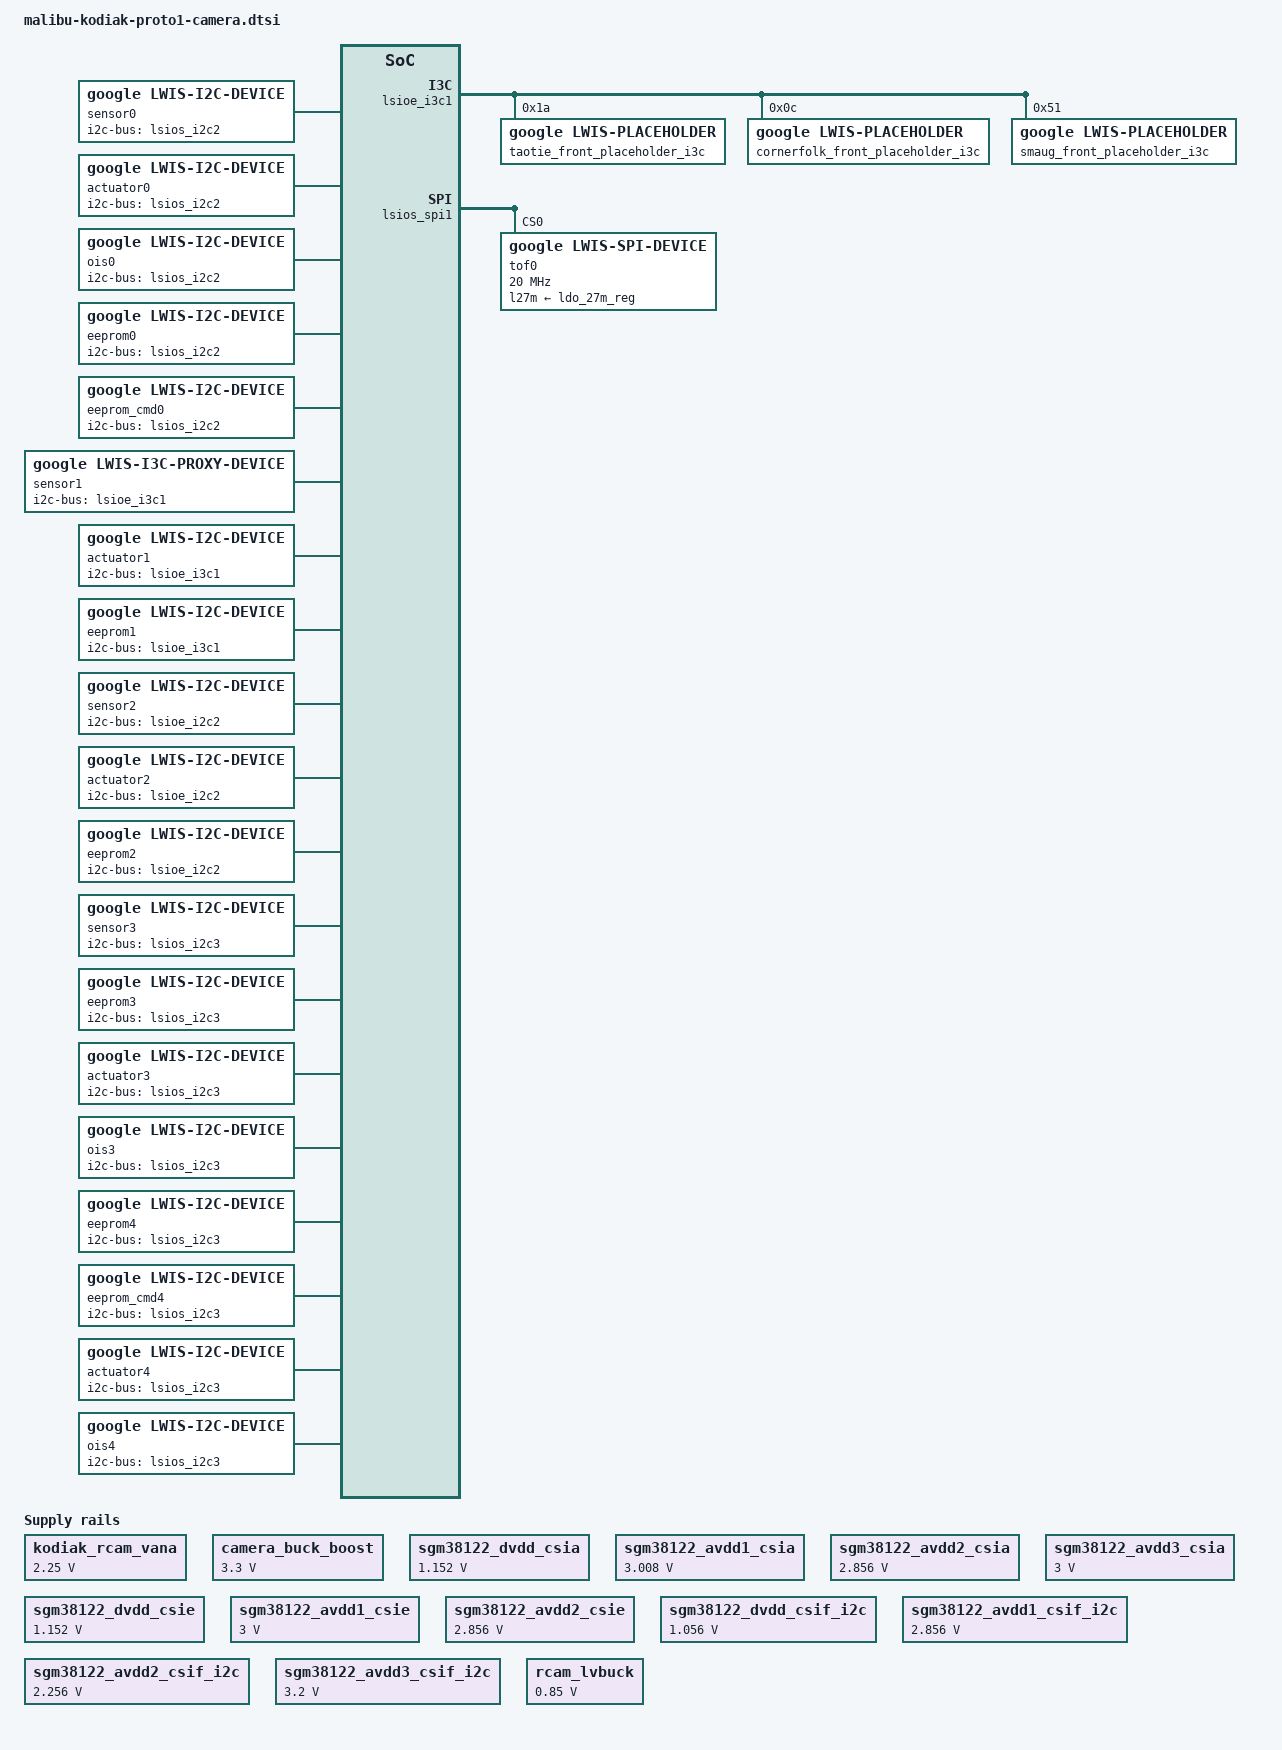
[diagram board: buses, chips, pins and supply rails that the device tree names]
// SPDX-License-Identifier: GPL-2.0-only
/*
 * camera lwis device tree for MBU device
 *
 * Copyright 2025 Google LLC.
 *
 */

#include <dt-bindings/gpio/gpio.h>
#include <dt-bindings/interrupt-controller/irq.h>
#include <dt-bindings/lwis/platform/malibu/tof.h>

&camera_buck_boost {
	regulator-min-microvolt = <3300000>;
	regulator-max-microvolt = <3300000>;
};

&sgm38122_csia {
	google,enable-pin-can-restart;
};
&sgm38122_csie {
	google,enable-pin-can-restart;
};
&sgm38122_csif {
	google,enable-pin-can-restart;
};
&sgm38122_csif_i2c {
	google,enable-pin-can-restart;
};

/* FCAM: switch I2C/I3C explicitly */
&xlsioe_i23c6_scl {
	function = "lsioe_i3c";
};
&xlsioe_i23c6_sda {
	function = "lsioe_i3c";
};
&lsioe_i2c1 {
	status = "disabled";
};
&lsioe_i3c1 {
	#address-cells = <1>;
	#size-cells = <0>;
	status = "okay";

	i3c-scl-hz = <6000000>;
	i2c-sda-falling-time-ns = <160>;
	i2c-scl-falling-time-ns = <120>;


	/* Lwis placeholder for FCAM */
	taotie_front_placeholder_i3c: taotie_front_placeholder_i3c@0 {
		compatible = "google,lwis-placeholder";
		/* I2C */
		reg = <0x1A 0x0 0x20>;
	};
	cornerfolk_front_placeholder_i3c: cornerfolk_front_placeholder_i3c@0 {
		compatible = "google,lwis-placeholder";
		/* I2C */
		reg = <0xC 0x0 0x20>;
	};
	smaug_front_placeholder_i3c: smaug_front_placeholder_i3c@0 {
		compatible = "google,lwis-placeholder";
		/* I2C */
		reg = <0x51 0x0 0x20>;
	};
};

&xlsioe_i23c7_scl {
	function = "lsioe_i2c";
};

&xlsioe_i23c7_sda {
	function = "lsioe_i2c";
};

&xlsios_i23c2_scl {
	function = "lsios_i2c2";
};

&xlsios_i23c2_sda {
	function = "lsios_i2c2";
};

&xlsios_i23c3_scl {
	function = "lsios_i2c3";
};

&xlsios_i23c3_sda {
	function = "lsios_i2c3";
};

&sgm38122_dvdd_csia {
	regulator-min-microvolt = <1152000>;
	regulator-max-microvolt = <1152000>;
};

&sgm38122_avdd1_csia {
	regulator-min-microvolt = <3008000>;
	regulator-max-microvolt = <3008000>;
};

&sgm38122_avdd2_csia {
	regulator-min-microvolt = <2856000>;
	regulator-max-microvolt = <2856000>;
};

&sgm38122_avdd3_csia {
	regulator-min-microvolt = <3000000>;
	regulator-max-microvolt = <3000000>;
};

&sgm38122_dvdd_csie {
	regulator-min-microvolt = <1152000>;
	regulator-max-microvolt = <1152000>;
};

&sgm38122_avdd1_csie {
	regulator-min-microvolt = <3000000>;
	regulator-max-microvolt = <3000000>;
};

&sgm38122_avdd2_csie {
	regulator-min-microvolt = <2856000>;
	regulator-max-microvolt = <2856000>;
};

&sgm38122_dvdd_csif_i2c {
	regulator-min-microvolt = <1056000>;
	regulator-max-microvolt = <1056000>;
};

&sgm38122_avdd1_csif_i2c {
	regulator-min-microvolt = <2856000>;
	regulator-max-microvolt = <2856000>;
};

&sgm38122_avdd2_csif_i2c {
	regulator-min-microvolt = <2256000>;
	regulator-max-microvolt = <2256000>;
};

&sgm38122_avdd3_csif_i2c {
	regulator-min-microvolt = <3200000>;
	regulator-max-microvolt = <3200000>;
};

&rcam_lvbuck {
	regulator-min-microvolt = <850000>;
	regulator-max-microvolt = <850000>;
};

&lsios_spi1 {
	#address-cells = <1>;
	#size-cells = <0>;
	google,spi-gpio-cs-with-cpol-high;
	tof0: tof@0 {
		compatible = "google,lwis-spi-device";

		/* SPI_CONFIG */
		reg = <0>;
		spi-max-frequency = <20000000>;
		spi-cpol;
		spi-cpha;

		/* Device node name */
		node-name = "tof-tarasque";

		/* Registers */
		reg-addr-bitwidth = <16>;
		reg-value-bitwidth = <8>;

		/* MCLK Control */
		/* LWIS DT parser explicitly requires mclk_on pinctrl */
		pinctrl-names = "default", "mclk_on", "mclk_off";
		pinctrl-0 = <&ldaf2aoss_irq_od_l_1v2>;
		pinctrl-1 = <&ldaf2aoss_irq_od_l_1v2>;
		pinctrl-2 = <>;

		irq-gpios = <LDAF2AOSS_IRQ_OD_L_1V2(GPIO_ACTIVE_LOW)>;
		irq-gpios-names = "tof-irq";
		irq-gpios-events = <LWIS_PLATFORM_EVENT_ID_TOF_DATA_POLLING>;
		irq-gpios-types = <IRQ_TYPE_EDGE_FALLING>;

		/* Power supplies */
		/* VADD 3.3V */
		l27m-supply = <&ldo_27m_reg>;

		/* Power up sequence */
		power-up-seqs =
			"l27m",
			"mclk_on";
		power-up-seq-types =
			"regulator",
			"pinctrl";
		power-up-seq-delays-us =
			<0
			 0>;

		/* Power down sequence */
		power-down-seqs =
			"mclk_off",
			"l27m";
		power-down-seq-types =
			"pinctrl",
			"regulator";
		power-down-seq-delays-us =
			<0
			 0>;

		/* Thread priority */
		/* This is made to be lower than image sensor's thread */
		/* thread priority to allow uninterrupted image sensor */
		/* operation during periods of high CPU contention. */
		transaction-thread-priority = <100>;
	};
};

/ {
	fragment@kodiak_rcam_supply {
		target-path = "/";
		__overlay__ {
			kodiak_rcam_vana: kodiak_rcam_supply@0 {
				compatible = "regulator-fixed";
				status = "okay";
				regulator-name = "RCAM_VANA";
				regulator-min-microvolt = <2250000>;
				regulator-max-microvolt = <2250000>;
				/* 0ms */
				regulator-enable-ramp-delay = <0>;
				enable-active-high;
				/* VANA_EN */
				gpio = <PMICM2RCAM_VANA_EN(GPIO_ACTIVE_HIGH)>;
			};
		};
	};
};

/ {
	fragment@lwiscamera {
		target-path = "/";
		__overlay__ {
			camera_base_pwrseq: camera_base_pwrseq@0 {
				compatible = "google,lwis-pwrseq-device";

				/* Device node name */
				node-name = "pwrseq-base";
				/* Power sequence target name */
				target-name = "camera_base";

				/* GPIOs */
				i2c-sel-gpios = <AP2CAM_I2C_SEL(GPIO_ACTIVE_LOW)>;

				/* Power supplies */
				bb_cam-supply = <&camera_buck_boost>;

				/* power up sequence */
				power-up-seqs =
					"i2c-sel",
					"bb_cam",
					"fast-bb_cam";
				power-up-seq-types =
					"gpio",
					"regulator",
					"regulator_mode";
				power-up-seq-delays-us =
					<0
					 0
					 1000>;

				/* power down sequence */
				power-down-seqs =
					"normal-bb_cam",
					"bb_cam",
					"i2c-sel";
				power-down-seq-types =
					"regulator_mode",
					"regulator",
					"gpio";
				power-down-seq-delays-us =
					<0
					 0
					 1000>;
			};

			/* Power sequence for REAR MAIN CAMERA */
			rear_main_camera_pwrseq: rear_main_camera_pwrseq@0 {
				compatible = "google,lwis-pwrseq-device";

				/* Device node name */
				node-name = "pwrseq-rmain";
				/* Power sequence target name */
				target-name = "rear_main_camera";

				/* Sequencer sources */
				sequencer-sources = <&camera_base_pwrseq>;

				/* GPIOs */
				vm_vana_enable-gpios = <PMICM2RCAM_AFOIS_VANA_EN(GPIO_ACTIVE_HIGH)>;

				/* Power supplies */
				mvbuck-supply = <&cam_pp1350_mvbuck>;
				vio-supply = <&ldo_22s_reg>;
				vdig-supply = <&rcam_lvbuck>;
				af_vm-supply = <&sgm38122_avdd3_csia>;
				ois_vm-supply = <&ldo_26m_reg>;
				vana-supply = <&kodiak_rcam_vana>;

				/* MCLK + VSYNC Control*/
				pinctrl-names = "mclk_on", "mclk_off", "vsync_on", "vsync_off";
				pinctrl-0 = <&ap2rcam_mclk_24mhz>;
				pinctrl-1 = <&ap2rcam_mclk_24mhz_sleep>;
				pinctrl-2 = <&rcam2ap_vsync>;
				pinctrl-3 = <&rcam2ap_vsync_sleep>;

				power-up-seqs =
					"camera_base",
					"mvbuck",
					"vio",
					"vana",
					"vdig",
					"vm_vana_enable",
					"af_vm",
					"ois_vm",
					"mclk_on",
					"vsync_on";
				power-up-seq-types =
					"pwrseq",
					"regulator",
					"regulator",
					"regulator",
					"regulator",
					"gpio",
					"regulator",
					"regulator",
					"pinctrl",
					"pinctrl";
				power-up-seq-delays-us =
					<0
					 0
					 1500
					 0
					 1000
					 1000
					 0
					 0
					 0
					 /* AF need 7.1ms (rounded to 8ms) before I2C stable,
					    added the remaining here */
					 8000>;

				power-down-seqs =
					"vsync_off",
					"mclk_off",
					"ois_vm",
					"af_vm",
					"vm_vana_enable",
					"vdig",
					"vana",
					"vio",
					"mvbuck",
					"camera_base";

				power-down-seq-types =
					"pinctrl",
					"pinctrl",
					"regulator",
					"regulator",
					"gpio",
					"regulator",
					"regulator",
					"regulator",
					"regulator",
					"pwrseq";
				power-down-seq-delays-us =
					<0
					 1000
					 0
					 1000
					 1000
					 0
					 1000
					 0
					 200
					 0>;
			};

			/* REAR CAMERA BASTET CSIB */
			sensor0: sensor@0 {
				compatible = "google,lwis-i2c-device";

				/* Device node name */
				node-name = "sensor-bastet";

				/* I2C */
				i2c-bus = <&lsios_i2c2>;
				i2c-addr = <0x3D>;

				/* Power up mode */
				lwis,power-up-to-suspend;

				/* Registers */
				reg-addr-bitwidth = <16>;
				reg-value-bitwidth = <16>;

				/* GPIOs */
				reset-gpios = <AP2RCAM_RST_L(GPIO_ACTIVE_HIGH)>;

				/* Power domains: cpm_clk */
				power-domains = <&sswrp_lsio_s_pd>;

				clocks = <&lsio_s_m4_clk>;
				clock-names = "MCLK4";
				clock-rates = <24576000>;

				/* Power sequence */
				power-sequencer = <&rear_main_camera_pwrseq>;

				power-up-seqs = "rear_main_camera", "resume";
				power-up-seq-types = "pwrseq", "controller";
				power-up-seq-delays-us = <0 0>;

				power-down-seqs = "suspend", "rear_main_camera";
				power-down-seq-types = "controller", "pwrseq";
				power-down-seq-delays-us = <0 0>;

				/* resume sequence */
				resume-seqs = "reset";
				resume-seq-types = "gpio";
				/* TODO(b/416615547) Reduce resume sequence */
				/* delay after resolving sensor ID read failures. */
				resume-seq-delays-us = <90000>;

				/* suspend sequence */
				suspend-seqs = "reset";
				suspend-seq-types = "gpio";
				suspend-seq-delays-us = <1000>;

				/* Thread priority */
				transaction-thread-priority = <99>;

				i2c-lock-group-id = <0>;
			};

			/* Actuator CORNERFOLK for BASTET */
			actuator0: actuator@0 {
				compatible = "google,lwis-i2c-device";

				/* Device node name */
				node-name = "act-cornerfolk";

				/* I2C */
				i2c-bus = <&lsios_i2c2>;
				i2c-addr = <0x0C>;

				/* Registers */
				reg-addr-bitwidth = <8>;
				reg-value-bitwidth = <8>;

				/* Power sequence */
				power-sequencer = <&rear_main_camera_pwrseq>;

				power-up-seqs = "rear_main_camera", "resume";
				power-up-seq-types = "pwrseq", "controller";
				power-up-seq-delays-us = <0 0>;

				power-down-seqs = "suspend", "rear_main_camera";
				power-down-seq-types = "controller", "pwrseq";
				power-down-seq-delays-us = <0 0>;

				/* Thread priority */
				transaction-thread-priority = <99>;

				i2c-lock-group-id = <0>;
			};

			/* OIS VESTA for BASTET */
			ois0: ois@0 {
				compatible = "google,lwis-i2c-device";

				/* Device node name */
				node-name = "ois-vesta";

				/* I2C */
				i2c-bus = <&lsios_i2c2>;
				i2c-addr = <0x3C>;

				/* Registers */
				reg-addr-bitwidth = <16>;
				reg-value-bitwidth = <8>;

				/* Power sequence */
				power-sequencer = <&rear_main_camera_pwrseq>;

				power-up-seqs = "rear_main_camera", "resume";
				power-up-seq-types = "pwrseq", "controller";
				power-up-seq-delays-us = <0 0>;

				power-down-seqs = "suspend", "rear_main_camera";
				power-down-seq-types = "controller", "pwrseq";
				power-down-seq-delays-us = <0 0>;

				/* Thread priority */
				transaction-thread-priority = <99>;

				i2c-lock-group-id = <0>;
			};

			/* EEPROM VESTA for BASTET */
			eeprom0: eeprom@0 {
				compatible = "google,lwis-i2c-device";

				/* Device node name */
				node-name = "eeprom-vesta";

				/* I2C */
				i2c-bus = <&lsios_i2c2>;
				i2c-addr = <0x51>;

				/* Registers */
				reg-addr-bitwidth = <16>;
				reg-value-bitwidth = <32>;

				/* Power sequence */
				power-sequencer = <&rear_main_camera_pwrseq>;

				power-up-seqs = "rear_main_camera", "resume";
				power-up-seq-types = "pwrseq", "controller";
				power-up-seq-delays-us = <0 0>;

				power-down-seqs = "suspend", "rear_main_camera";
				power-down-seq-types = "controller", "pwrseq";
				power-down-seq-delays-us = <0 0>;

				i2c-lock-group-id = <0>;
			};

			eeprom_cmd0: eeprom_cmd@0 {
				compatible = "google,lwis-i2c-device";

				/* Device node name */
				node-name = "eeprom-cmd-vesta";

				/* I2C */
				i2c-bus = <&lsios_i2c2>;
				i2c-addr = <0x51>;

				/* Registers */
				reg-addr-bitwidth = <16>;
				reg-value-bitwidth = <8>;

				/* Power sequence */
				power-sequencer = <&rear_main_camera_pwrseq>;

				power-up-seqs = "rear_main_camera", "resume";
				power-up-seq-types = "pwrseq", "controller";
				power-up-seq-delays-us = <0 0>;

				power-down-seqs = "suspend", "rear_main_camera";
				power-down-seq-types = "controller", "pwrseq";
				power-down-seq-delays-us = <0 0>;

				i2c-lock-group-id = <0>;
			};

			front_camera_pwrseq: front_camera_pwrseq@0 {
				compatible = "google,lwis-pwrseq-device";

				/* Device node name */
				node-name = "pwrseq-fmain";
				/* Power sequence target name */
				target-name = "front_camera";

				/* Sequencer sources */
				sequencer-sources = <&camera_base_pwrseq>;

				/* Power supplies */
				mvbuck-supply = <&cam_pp1350_mvbuck>;
				vio-supply = <&ldo_22s_reg>;
				vdig-supply = <&sgm38122_dvdd_csie>;
				afvm-supply = <&sgm38122_avdd1_csie>;
				vana-supply = <&sgm38122_avdd2_csie>;

				/* MCLK Control */
				pinctrl-names = "mclk_on", "mclk_off";
				pinctrl-0 = <&ap2fcam0_mclk_24mhz>;
				pinctrl-1 = <&ap2fcam0_mclk_24mhz_sleep>;

				power-up-seqs =
					"camera_base",
					"mvbuck",
					"vio",
					"vana",
					"vdig",
					"afvm",
					"mclk_on";
				power-up-seq-types =
					"pwrseq",
					"regulator",
					"regulator",
					"regulator",
					"regulator",
					"regulator",
					"pinctrl";
				power-up-seq-delays-us =
					<0
					 0
					 2500
					 0
					 1000
					 7100
					 0>;

				power-down-seqs =
					"mclk_off",
					"afvm",
					"vdig",
					"vana",
					"vio",
					"mvbuck",
					"camera_base";
				power-down-seq-types =
					"pinctrl",
					"regulator",
					"regulator",
					"regulator",
					"regulator",
					"regulator",
					"pwrseq";
				power-down-seq-delays-us =
					<1000
					 1000
					 0
					 1000
					 0
					 200
					 0>;
			};

			/* FRONT CAMERA TAOTIE CSIE */
			sensor1: sensor@1 {
				compatible = "google,lwis-i3c-proxy-device";

				/* Device node name */
				node-name = "sensor-taotie-front";

				/* I2C */
				i2c-bus = <&lsioe_i3c1>;
				i2c-addr = <0x1A>;

				/* Registers */
				reg-addr-bitwidth = <16>;
				reg-value-bitwidth = <8>;

				/* I3C */
				i3c-enabled;
				i3c-dcr = <0>;

				/* GPIOs */
				reset-gpios = <AP2FCAM0_RST_L(GPIO_ACTIVE_HIGH)>;

				/* Power domains: cpm_clk */
				power-domains = <&sswrp_lsio_s_pd>;

				clocks = <&lsio_s_m6_clk>;
				clock-names = "MCLK6";
				clock-rates = <24576000>;

				/* Power up sequence */
				power-sequencer = <&front_camera_pwrseq>;

				power-up-seqs = "front_camera", "resume";
				power-up-seq-types = "pwrseq", "controller";
				power-up-seq-delays-us = <0 0>;

				power-down-seqs = "suspend", "front_camera";
				power-down-seq-types = "controller", "pwrseq";
				power-down-seq-delays-us = <0 0>;

				/* resume sequence */
				resume-seqs = "reset";
				resume-seq-types = "gpio";
				resume-seq-delays-us = <5000>;

				/* suspend sequence */
				suspend-seqs = "reset";
				suspend-seq-types = "gpio";
				suspend-seq-delays-us = <1000>;

				/* Power up mode */
				lwis,power-up-to-suspend;

				/* Thread priority */
				transaction-thread-priority = <99>;

				i2c-lock-group-id = <1>;
			};

			/* Actuator for FRONT CAMERA */
			actuator1: actuator@1 {
				compatible = "google,lwis-i2c-device";

				/* Device node name */
				node-name = "act-cornerfolk-taotie-front";

				/* I2C */
				i2c-bus = <&lsioe_i3c1>;
				i2c-addr = <0xC>;

				/* Registers */
				reg-addr-bitwidth = <8>;
				reg-value-bitwidth = <8>;

				/* Power up sequence */
				power-sequencer = <&front_camera_pwrseq>;

				power-up-seqs = "front_camera", "resume";
				power-up-seq-types = "pwrseq", "controller";
				power-up-seq-delays-us = <0 0>;

				power-down-seqs = "suspend", "front_camera";
				power-down-seq-types = "controller", "pwrseq";
				power-down-seq-delays-us = <0 0>;

				/* Thread priority */
				transaction-thread-priority = <99>;

				i2c-lock-group-id = <1>;
			};

			/* EEPROM SMAUG for TAOTIE Front */
			eeprom1: eeprom@1 {
				compatible = "google,lwis-i2c-device";

				/* Device node name */
				node-name = "eeprom-smaug-taotie-front";

				/* I2C */
				i2c-bus = <&lsioe_i3c1>;
				i2c-addr = <0x51>;

				/* Registers */
				reg-addr-bitwidth = <16>;
				reg-value-bitwidth = <8>;

				/* Power up sequence */
				power-sequencer = <&front_camera_pwrseq>;

				power-up-seqs = "front_camera", "resume";
				power-up-seq-types = "pwrseq", "controller";
				power-up-seq-delays-us = <0 0>;

				power-down-seqs = "suspend", "front_camera";
				power-down-seq-types = "controller", "pwrseq";
				power-down-seq-delays-us = <0 0>;

				i2c-lock-group-id = <1>;
			};

			rear_uw_camera_pwrseq: rear_uw_camera_pwrseq@0 {
				compatible = "google,lwis-pwrseq-device";

				/* Device node name */
				node-name = "pwrseq-ruw";
				/* Power sequence target name */
				target-name = "rear_uw_camera";

				/* Sequencer sources */
				sequencer-sources = <&camera_base_pwrseq>;

				/* Power supplies */
				mvbuck-supply = <&cam_pp1350_mvbuck>;
				vio-supply = <&ldo_22s_reg>;
				vdig-supply = <&sgm38122_dvdd_csia>;
				afvm-supply = <&sgm38122_avdd1_csia>;
				vana-supply = <&sgm38122_avdd2_csia>;

				/* MCLK Control */
				pinctrl-names = "mclk_on", "mclk_off";
				pinctrl-0 = <&ap2ruwcam_mclk_24mhz>;
				pinctrl-1 = <&ap2ruwcam_mclk_24mhz_sleep>;

				power-up-seqs =
					"camera_base",
					"mvbuck",
					"vio",
					"vana",
					"vdig",
					"afvm",
					"mclk_on";
				power-up-seq-types =
					"pwrseq",
					"regulator",
					"regulator",
					"regulator",
					"regulator",
					"regulator",
					"pinctrl";
				power-up-seq-delays-us =
					<0
					 0
					 2500
					 0
					 1000
					 7100
					 0>;

				power-down-seqs =
					"mclk_off",
					"afvm",
					"vdig",
					"vana",
					"vio",
					"mvbuck",
					"camera_base";
				power-down-seq-types =
					"pinctrl",
					"regulator",
					"regulator",
					"regulator",
					"regulator",
					"regulator",
					"pwrseq";
				power-down-seq-delays-us =
					<1000
					 1000
					 0
					 1000
					 0
					 200
					 0>;
			};

			/* REAR ULTRA WIDE CAMERA TAOTIE CSIA */
			sensor2: sensor@2 {
				compatible = "google,lwis-i2c-device";

				/* Device node name */
				node-name = "sensor-taotie-uw";

				/* I2C */
				i2c-bus = <&lsioe_i2c2>;
				i2c-addr = <0x1A>;

				/* Registers */
				reg-addr-bitwidth = <16>;
				reg-value-bitwidth = <8>;

				/* GPIOs */
				reset-gpios = <AP2RUWCAM_RST_L(GPIO_ACTIVE_HIGH)>;

				/* Power domains: cpm_clk */
				power-domains = <&sswrp_lsio_s_pd>;

				clocks = <&lsio_s_m2_clk>;
				clock-names = "MCLK2";
				clock-rates = <24576000>;

				/* Power up sequence */
				power-sequencer = <&rear_uw_camera_pwrseq>;

				power-up-seqs = "rear_uw_camera", "resume";
				power-up-seq-types = "pwrseq", "controller";
				power-up-seq-delays-us = <0 0>;

				power-down-seqs = "suspend", "rear_uw_camera";
				power-down-seq-types = "controller", "pwrseq";
				power-down-seq-delays-us = <0 0>;

				/* resume sequence */
				resume-seqs = "reset";
				resume-seq-types = "gpio";
				resume-seq-delays-us = <5100>;

				/* suspend sequence */
				suspend-seqs = "reset";
				suspend-seq-types = "gpio";
				suspend-seq-delays-us = <1000>;

				/* Power up mode */
				lwis,power-up-to-suspend;

				/* Thread priority */
				transaction-thread-priority = <99>;

				i2c-lock-group-id = <2>;
			};

			/* Actuator for REAR ULTRAWIDE CAMERA */
			actuator2: actuator@2 {
				compatible = "google,lwis-i2c-device";

				/* Device node name */
				node-name = "act-cornerfolk-taotie-uw";

				/* I2C */
				i2c-bus = <&lsioe_i2c2>;
				i2c-addr = <0xF>;

				/* Registers */
				reg-addr-bitwidth = <8>;
				reg-value-bitwidth = <8>;

				/* Power up sequence */
				power-sequencer = <&rear_uw_camera_pwrseq>;

				power-up-seqs = "rear_uw_camera", "resume";
				power-up-seq-types = "pwrseq", "controller";
				power-up-seq-delays-us = <0 0>;

				power-down-seqs = "suspend", "rear_uw_camera";
				power-down-seq-types = "controller", "pwrseq";
				power-down-seq-delays-us = <0 0>;

				/* Thread priority */
				transaction-thread-priority = <99>;

				i2c-lock-group-id = <2>;
			};

			/* EEPROM SMAUG for UW */
			eeprom2: eeprom@2 {
				compatible = "google,lwis-i2c-device";

				/* Device node name */
				node-name = "eeprom-smaug-taotie-uw";
				/* I2C */
				i2c-bus = <&lsioe_i2c2>;
				i2c-addr = <0x50>;

				/* Registers */
				reg-addr-bitwidth = <16>;
				reg-value-bitwidth = <8>;

				/* Power up sequence */
				power-sequencer = <&rear_uw_camera_pwrseq>;

				power-up-seqs = "rear_uw_camera", "resume";
				power-up-seq-types = "pwrseq", "controller";
				power-up-seq-delays-us = <0 0>;

				power-down-seqs = "suspend", "rear_uw_camera";
				power-down-seq-types = "controller", "pwrseq";
				power-down-seq-delays-us = <0 0>;

				i2c-lock-group-id = <2>;
			};

			rear_tele_camera_pwrseq: rear_tele_camera_pwrseq@0 {
				compatible = "google,lwis-pwrseq-device";

				/* Device node name */
				node-name = "pwrseq-rtele";
				/* Power sequence target name */
				target-name = "rear_tele_camera";

				/* Sequencer sources */
				sequencer-sources = <&camera_base_pwrseq>;

				/* Power supplies */
				pp1350_cam-supply = <&cam_pp1350_mvbuck>;
				pp1850_vio-supply = <&ldo_22s_reg>;
				pp2250_vana-supply = <&sgm38122_avdd2_csif_i2c>;
				pp1050_vdig-supply = <&sgm38122_dvdd_csif_i2c>;
				pp2850_afois_vana-supply =
					<&sgm38122_avdd1_csif_i2c>;
				pp3200_afois_vm-supply =
					<&sgm38122_avdd3_csif_i2c>;

				/* MCLK Control */
				pinctrl-names = "mclk_on", "mclk_off",
						"vsync_on", "vsync_off";
				pinctrl-0 = <&ap2rtcam_mclk_24mhz>;
				pinctrl-1 = <&ap2rtcam_mclk_24mhz_sleep>;
				pinctrl-2 = <&rtcam2ap_vsync>;
				pinctrl-3 = <&rtcam2ap_vsync_sleep>;

				power-up-seqs =
					"camera_base",
					"pp1350_cam",
					"pp1850_vio",
					"pp2250_vana",
					"pp1050_vdig",
					"pp2850_afois_vana",
					"pp3200_afois_vm",
					"mclk_on",
					"vsync_on";
				power-up-seq-types =
					"pwrseq",
					"regulator",
					"regulator",
					"regulator",
					"regulator",
					"regulator",
					"regulator",
					"pinctrl",
					"pinctrl";
				power-up-seq-delays-us =
					<0
					 0
					 2500
					 0
					 1000
					 1000
					 1000
					 0
					 /* AF need 7.1ms (rounded to 8ms) before I2C stable,
					    added the remaining here */
					 7000>;

				power-down-seqs =
					"vsync_off",
					"mclk_off",
					"pp3200_afois_vm",
					"pp2850_afois_vana",
					"pp1050_vdig",
					"pp2250_vana",
					"pp1850_vio",
					"pp1350_cam",
					"camera_base";
				power-down-seq-types =
					"pinctrl",
					"pinctrl",
					"regulator",
					"regulator",
					"regulator",
					"regulator",
					"regulator",
					"regulator",
					"pwrseq";
				power-down-seq-delays-us =
					<0
					 1000
					 1000
					 1000
					 0
					 1000
					 0
					 200
					 0>;
			};

			/* REAR TELE BARGHEST CSIF */
			sensor3: sensor@3 {
				compatible = "google,lwis-i2c-device";

				node-name = "sensor-barghest";

				i2c-bus = <&lsios_i2c3>;
				i2c-addr = <0x2D>;

				/* Registers */
				reg-addr-bitwidth = <16>;
				reg-value-bitwidth = <16>;

				lwis,i2c-otp;
				i2c-otp-settings =
					<0xFCFC 0x4000
					 0x6010 0x0001>;
				i2c-otp-settle-time = <10000>;

				/* GPIOs */
				reset-gpios =
					<AP2RTCAM_RST_L(GPIO_ACTIVE_HIGH)>;

				/* Power domains: cpm_clk */
				power-domains = <&sswrp_lsio_s_pd>;

				clocks = <&lsio_s_m5_clk>;
				clock-names = "MCLK5";
				clock-rates = <24576000>;

				/* Power up sequence */
				power-sequencer = <&rear_tele_camera_pwrseq>;

				power-up-seqs = "rear_tele_camera", "resume";
				power-up-seq-types = "pwrseq", "controller";
				power-up-seq-delays-us = <0 0>;

				power-down-seqs = "suspend", "rear_tele_camera";
				power-down-seq-types = "controller", "pwrseq";
				power-down-seq-delays-us = <0 0>;

				lwis,power-up-to-suspend;

				resume-seqs = "reset";
				resume-seq-types = "gpio";
				resume-seq-delays-us = <10500>;

				suspend-seqs = "reset";
				suspend-seq-types = "gpio";
				suspend-seq-delays-us = <1000>;

				/* Thread priority */
				transaction-thread-priority = <99>;

				i2c-lock-group-id = <3>;
			};

			/* EEPROM CHONKY for BARGHEST TELE*/
			eeprom3: eeprom@3 {
				compatible = "google,lwis-i2c-device";

				node-name = "eeprom-chonky";

				i2c-bus = <&lsios_i2c3>;
				i2c-addr = <0x61>;

				/* Registers */
				reg-addr-bitwidth = <16>;
				reg-value-bitwidth = <8>;

				/* Power up sequence */
				power-sequencer = <&rear_tele_camera_pwrseq>;

				power-up-seqs = "rear_tele_camera", "resume";
				power-up-seq-types = "pwrseq", "controller";
				power-up-seq-delays-us = <0 0>;

				power-down-seqs = "suspend", "rear_tele_camera";
				power-down-seq-types = "controller", "pwrseq";
				power-down-seq-delays-us = <0 0>;

				i2c-lock-group-id = <3>;
				lwis,disable-group-transfer;
			};

			/* Actuator CHONKY for BARGHEST TELE */
			actuator3: actuator@3 {
				compatible = "google,lwis-i2c-device";

				node-name = "act-chonky";

				i2c-bus = <&lsios_i2c3>;
				i2c-addr = <0x61>;

				/* Registers */
				reg-addr-bitwidth = <16>;
				reg-value-bitwidth = <8>;

				/* Power up sequence */
				power-sequencer = <&rear_tele_camera_pwrseq>;

				power-up-seqs = "rear_tele_camera", "resume";
				power-up-seq-types = "pwrseq", "controller";
				power-up-seq-delays-us = <0 0>;

				power-down-seqs = "suspend", "rear_tele_camera";
				power-down-seq-types = "controller", "pwrseq";
				power-down-seq-delays-us = <0 0>;

				/* Thread priority */
				transaction-thread-priority = <99>;

				i2c-lock-group-id = <3>;
				lwis,disable-group-transfer;
			};

			/* OIS CHONKY for BARGHEST TELE */
			ois3: ois@3 {
				compatible = "google,lwis-i2c-device";

				node-name = "ois-chonky";

				i2c-bus = <&lsios_i2c3>;
				i2c-addr = <0x61>;

				/* Registers */
				reg-addr-bitwidth = <16>;
				reg-value-bitwidth = <8>;

				/* Power up sequence */
				power-sequencer = <&rear_tele_camera_pwrseq>;

				power-up-seqs = "rear_tele_camera", "resume";
				power-up-seq-types = "pwrseq", "controller";
				power-up-seq-delays-us = <0 0>;

				power-down-seqs = "suspend", "rear_tele_camera";
				power-down-seq-types = "controller", "pwrseq";
				power-down-seq-delays-us = <0 0>;

				/* Thread priority */
				transaction-thread-priority = <99>;

				i2c-lock-group-id = <3>;
				lwis,disable-group-transfer;
			};

			/* EEPROM VESTA for BARGHEST TELE */
			eeprom4: eeprom@4 {
				compatible = "google,lwis-i2c-device";

				node-name = "eeprom-vesta-barghest";

				i2c-bus = <&lsios_i2c3>;
				i2c-addr = <0x51>;

				/* Registers */
				reg-addr-bitwidth = <16>;
				reg-value-bitwidth = <32>;

				/* Power sequence */
				power-sequencer = <&rear_tele_camera_pwrseq>;

				power-up-seqs = "rear_tele_camera", "resume";
				power-up-seq-types = "pwrseq", "controller";
				power-up-seq-delays-us = <0 0>;

				power-down-seqs = "suspend", "rear_tele_camera";
				power-down-seq-types = "controller", "pwrseq";
				power-down-seq-delays-us = <0 0>;

				i2c-lock-group-id = <3>;
			};

			eeprom_cmd4: eeprom_cmd@4 {
				compatible = "google,lwis-i2c-device";

				node-name = "eeprom-cmd-vesta-barghest";

				i2c-bus = <&lsios_i2c3>;
				i2c-addr = <0x51>;

				/* Registers */
				reg-addr-bitwidth = <16>;
				reg-value-bitwidth = <8>;

				/* Power sequence */
				power-sequencer = <&rear_tele_camera_pwrseq>;

				power-up-seqs = "rear_tele_camera", "resume";
				power-up-seq-types = "pwrseq", "controller";
				power-up-seq-delays-us = <0 0>;

				power-down-seqs = "suspend", "rear_tele_camera";
				power-down-seq-types = "controller", "pwrseq";
				power-down-seq-delays-us = <0 0>;

				i2c-lock-group-id = <3>;
			};

			/* Actuator CORNERFOLK for BARGHEST TELE */
			actuator4: actuator@4 {
				compatible = "google,lwis-i2c-device";

				node-name = "act-cornerfolk-barghest";

				i2c-bus = <&lsios_i2c3>;
				i2c-addr = <0x0C>;

				/* Registers */
				reg-addr-bitwidth = <8>;
				reg-value-bitwidth = <8>;

				/* Power sequence */
				power-sequencer = <&rear_tele_camera_pwrseq>;

				power-up-seqs = "rear_tele_camera", "resume";
				power-up-seq-types = "pwrseq", "controller";
				power-up-seq-delays-us = <0 0>;

				power-down-seqs = "suspend", "rear_tele_camera";
				power-down-seq-types = "controller", "pwrseq";
				power-down-seq-delays-us = <0 0>;

				/* Thread priority */
				transaction-thread-priority = <99>;

				i2c-lock-group-id = <3>;
			};

			/* OIS VESTA for BARGHEST TELE */
			ois4: ois@4 {
				compatible = "google,lwis-i2c-device";

				node-name = "ois-vesta-barghest";

				i2c-bus = <&lsios_i2c3>;
				i2c-addr = <0x3C>;

				/* Registers */
				reg-addr-bitwidth = <16>;
				reg-value-bitwidth = <8>;

				/* Power sequence */
				power-sequencer = <&rear_tele_camera_pwrseq>;

				power-up-seqs = "rear_tele_camera", "resume";
				power-up-seq-types = "pwrseq", "controller";
				power-up-seq-delays-us = <0 0>;

				power-down-seqs = "suspend", "rear_tele_camera";
				power-down-seq-types = "controller", "pwrseq";
				power-down-seq-delays-us = <0 0>;

				/* Thread priority */
				transaction-thread-priority = <99>;

				i2c-lock-group-id = <3>;
			};
		};
	};
};
